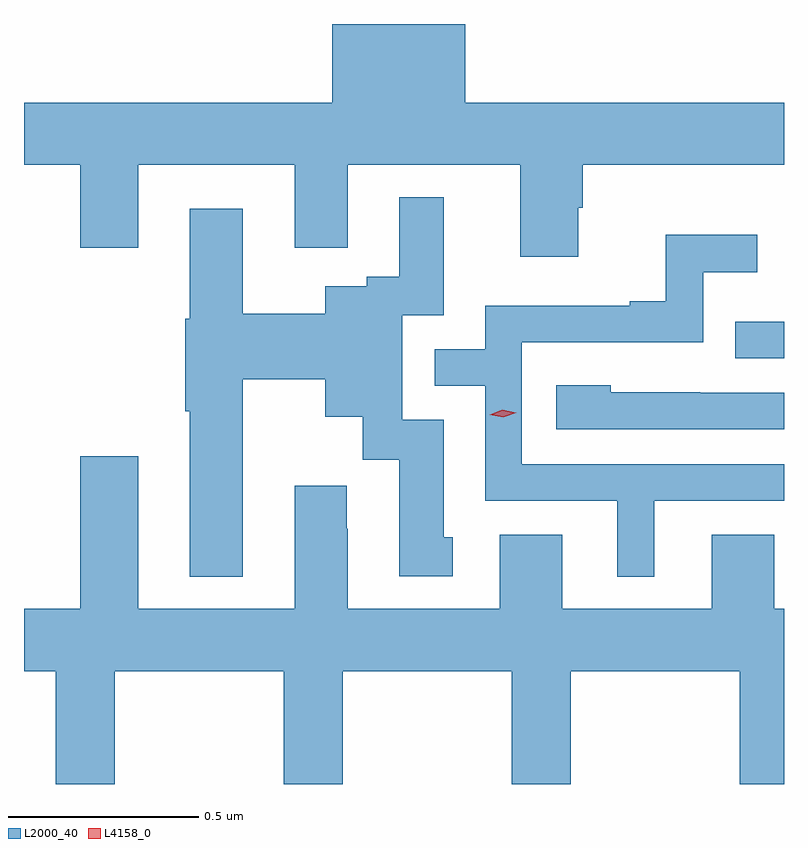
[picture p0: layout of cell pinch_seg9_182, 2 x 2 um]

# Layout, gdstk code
import gdstk
lib = gdstk.Library(unit=1e-6, precision=1e-09)
def R(c, l, rs):  # rectangles x0, y0, x1, y1
    for r in rs: c.add(gdstk.rectangle(r[:2], r[2:], *l))
def P(c, l, *ps):  # polygons
    for p in ps: c.add(gdstk.Polygon(p, *l))
L2000_40 = (2000, 40)
L4158_0 = (4158, 0)

pinch_seg9_182 = lib.new_cell('pinch_seg9_182')
R(pinch_seg9_182, L2000_40, [(794.017,1186.587,794.145,1186.684)])
P(pinch_seg9_182, L2000_40, [(792.145,1187.096),(792.293,1187.096),(792.293,1186.878),(792.445,1186.878),(792.445,1187.096),(792.857,1187.096),(792.857,1186.878),(792.997,1186.878),(792.997,1187.096),(793.451,1187.096),(793.451,1186.854),(793.603,1186.854),(793.603,1186.983),(793.616,1186.983),(793.616,1187.096),(794.145,1187.096),(794.145,1187.26),(793.306,1187.26),(793.306,1187.467),(792.956,1187.467),(792.956,1187.26),(792.145,1187.26)],
  [(792.721,1186.532),(792.938,1186.532),(792.938,1186.433),(793.037,1186.433),(793.037,1186.32),(793.133,1186.32),(793.133,1186.014),(793.273,1186.014),(793.273,1186.116),(793.249,1186.116),(793.249,1186.425),(793.14,1186.425),(793.14,1186.701),(793.249,1186.701),(793.249,1187.011),(793.133,1187.011),(793.133,1186.802),(793.047,1186.802),(793.047,1186.777),(792.938,1186.777),(792.938,1186.704),(792.721,1186.704),(792.721,1186.981),(792.581,1186.981),(792.581,1186.692),(792.569,1186.692),(792.569,1186.448),(792.581,1186.448),(792.581,1186.013),(792.721,1186.013)],
  [(793.804,1186.212),(794.145,1186.212),(794.145,1186.308),(793.455,1186.308),(793.455,1186.629),(793.932,1186.629),(793.932,1186.814),(794.074,1186.814),(794.074,1186.913),(793.834,1186.913),(793.834,1186.738),(793.739,1186.738),(793.739,1186.725),(793.359,1186.725),(793.359,1186.611),(793.226,1186.611),(793.226,1186.515),(793.359,1186.515),(793.359,1186.212),(793.706,1186.212),(793.706,1186.013),(793.804,1186.013)],
  [(794.145,1186.497),(793.925,1186.497),(793.925,1186.498),(793.689,1186.498),(793.689,1186.516),(793.545,1186.516),(793.545,1186.401),(794.145,1186.401)],
  [(792.984,1185.764),(793.429,1185.764),(793.429,1185.467),(793.584,1185.467),(793.584,1185.764),(794.029,1185.764),(794.029,1185.467),(794.145,1185.467),(794.145,1185.928),(794.119,1185.928),(794.119,1186.123),(793.955,1186.123),(793.955,1185.928),(793.561,1185.928),(793.561,1186.123),(793.397,1186.123),(793.397,1185.928),(792.997,1185.928),(792.997,1186.139),(792.994,1186.139),(792.994,1186.252),(792.857,1186.252),(792.857,1185.928),(792.445,1185.928),(792.445,1186.33),(792.293,1186.33),(792.293,1185.928),(792.145,1185.928),(792.145,1185.764),(792.229,1185.764),(792.229,1185.467),(792.384,1185.467),(792.384,1185.764),(792.829,1185.764),(792.829,1185.467),(792.984,1185.467)])
P(pinch_seg9_182, L4158_0, [(793.406,1186.432),(793.371,1186.439),(793.37,1186.439),(793.371,1186.439),(793.404,1186.452),(793.44,1186.444),(793.44,1186.444),(793.44,1186.444)])

lib.write_gds('pinch_seg9_182.gds')
